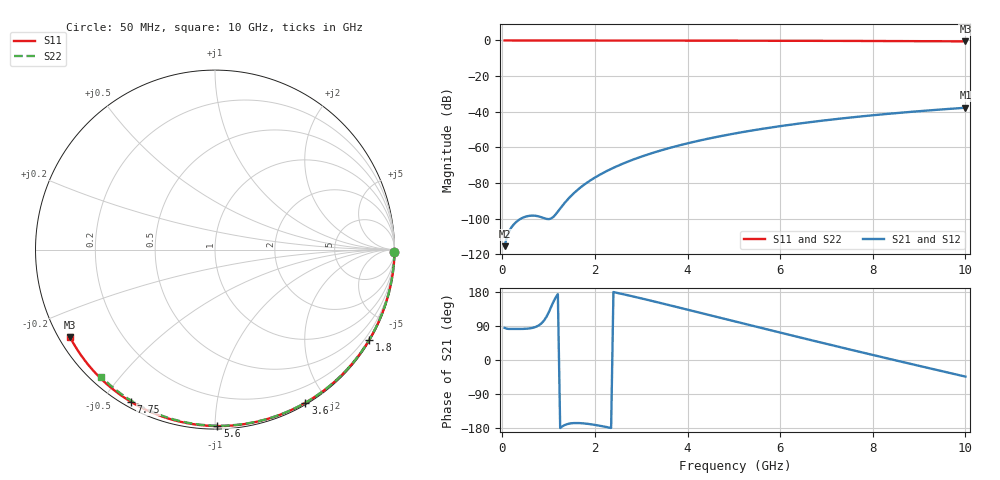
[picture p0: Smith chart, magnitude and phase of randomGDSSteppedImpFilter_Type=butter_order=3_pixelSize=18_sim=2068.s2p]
! freq	dB(S11)	phase(S11)	dB(S12)	phase(S12)
!  dB(S21)	phase(S21)	dB(S22)	phase(S22)
!S-par simulation data
#  GHz  S  DB  R 50
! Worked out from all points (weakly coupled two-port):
!   200 points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, 50 MHz to 10 GHz, reference 50 ohm
!   highest |S21| = -37.77 dB at 10 GHz (marker M1); lowest = -115.5 dB at 50 MHz (marker M2)
!   lowest |S11| = -0.5 dB at 10 GHz (marker M3), VSWR 34.46, Z = 1.56 - j13.9 ohm
!   |S11| at or under -10 dB: nowhere
!   |S22| runs from -0.4 to 0.0 dB; largest |S21 - S12| = 0
!   S11 on the Smith chart (normalised r, x): 50 MHz: open; 1.8 GHz: 0.03, -3.67; 3.6 GHz: 0.02, -1.75; 5.6 GHz: 0.02, -1.01; 7.75 GHz: 0.02, -0.59; 10 GHz: 0.03, -0.28
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0.05  -0.00 -0.9  -115.47 84.8  -115.47 84.8  -0.00 -0.8
0.45  -0.01 -7.7  -99.41 82.1  -99.41 82.1  -0.01 -6.9
0.9  -0.02 -15.4  -99.73 104.0  -99.73 104.0  -0.02 -13.7
1.3  -0.03 -22.1  -92.68 -174.8  -92.68 -174.8  -0.02 -19.7
1.75  -0.04 -29.6  -81.30 -167.2  -81.30 -167.2  -0.03 -26.3
1.8  -0.04 -30.5  -80.35 -167.8  -80.35 -167.8  -0.03 -27.1
1.85  -0.04 -31.3  -79.45 -168.6  -79.45 -168.6  -0.04 -27.8
2.05  -0.04 -34.6  -76.18 -172.3  -76.18 -172.3  -0.04 -30.7
2.2  -0.05 -37.1  -74.04 -175.7  -74.04 -175.7  -0.04 -32.9
2.5  -0.05 -41.9  -70.30 176.7  -70.30 176.7  -0.05 -37.3
2.9  -0.06 -48.4  -66.16 165.5  -66.16 165.5  -0.06 -43.0
3.4  -0.07 -56.3  -61.91 150.9  -61.91 150.9  -0.07 -50.1
3.6  -0.08 -59.4  -60.42 144.9  -60.42 144.9  -0.07 -52.9
4.3  -0.10 -70.1  -55.95 123.8  -55.95 123.8  -0.09 -62.5
5.05  -0.13 -81.3  -52.07 101.0  -52.07 101.0  -0.11 -72.5
5.6  -0.15 -89.2  -49.66 84.4  -49.66 84.4  -0.13 -79.6
6.15  -0.17 -97.0  -47.55 67.8  -47.55 67.8  -0.15 -86.6
6.7  -0.20 -104.6  -45.68 51.4  -45.68 51.4  -0.18 -93.4
7.75  -0.28 -118.9  -42.63 20.6  -42.63 20.6  -0.24 -106.0
8.35  -0.33 -126.9  -41.14 3.2  -41.14 3.2  -0.29 -113.0
9.2  -0.41 -138.2  -39.28 -21.1  -39.28 -21.1  -0.36 -122.8
10  -0.50 -148.9  -37.77 -43.8  -37.77 -43.8  -0.44 -131.9
